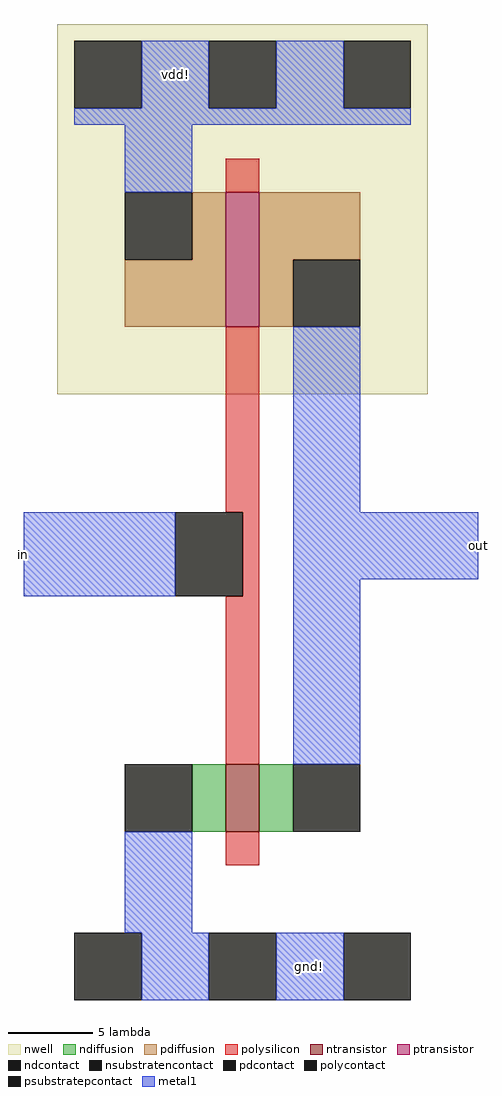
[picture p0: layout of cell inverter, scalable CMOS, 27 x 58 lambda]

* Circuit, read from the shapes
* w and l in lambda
.subckt inverter gnd! in out vdd!
M1 out in gnd! gnd! nfet w=4 l=2
M2 out in vdd! vdd! pfet w=8 l=2
.ends

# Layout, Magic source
magic
tech scmos
<< nwell >>
rect -9 26 13 48
<< polysilicon >>
rect 1 38 3 40
rect 1 19 3 30
rect 2 14 3 19
rect 1 4 3 14
rect 1 -2 3 0
<< ndiffusion >>
rect -1 0 1 4
rect 3 0 5 4
<< pdiffusion >>
rect -1 34 1 38
rect -5 30 1 34
rect 3 34 9 38
rect 3 30 5 34
<< metal1 >>
rect -4 43 0 47
rect 4 43 8 47
rect -8 42 12 43
rect -5 38 -1 42
rect 5 19 9 30
rect -11 14 -2 19
rect 5 15 16 19
rect 5 4 9 15
rect -5 -6 -1 0
rect -4 -10 0 -6
rect 4 -10 8 -6
<< ntransistor >>
rect 1 0 3 4
<< ptransistor >>
rect 1 30 3 38
<< polycontact >>
rect -2 14 2 19
<< ndcontact >>
rect -5 0 -1 4
rect 5 0 9 4
<< pdcontact >>
rect -5 34 -1 38
rect 5 30 9 34
<< psubstratepcontact >>
rect -8 -10 -4 -6
rect 0 -10 4 -6
rect 8 -10 12 -6
<< nsubstratencontact >>
rect -8 43 -4 47
rect 0 43 4 47
rect 8 43 12 47
<< labels >>
rlabel metal1 6 -8 6 -8 1 gnd!
rlabel metal1 -2 45 -2 45 5 vdd!
rlabel metal1 -11 14 -11 19 3 in
rlabel metal1 16 15 16 19 7 out
<< end >>
